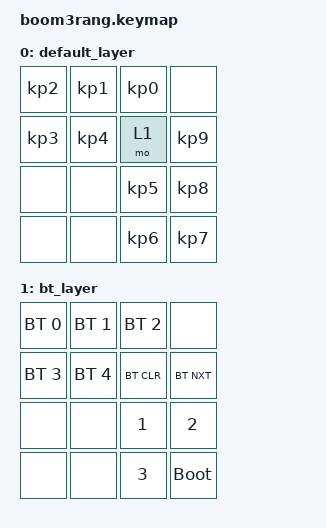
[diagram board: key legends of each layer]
#include <behaviors.dtsi>
#include <dt-bindings/zmk/keys.h>
#include <dt-bindings/zmk/bt.h>

/ {
    keymap {
        compatible = "zmk,keymap";

        default_layer {
            bindings = <
                &kp KP_N2     &kp KP_N1     &kp KP_N0     &none
                &kp KP_N3     &kp KP_N4     &mo 1         &kp KP_N9
                &none         &none         &kp KP_N5     &kp KP_N8
                &none         &none         &kp KP_N6     &kp KP_N7
            >;
        };

        bt_layer {
            bindings = <
                &bt BT_SEL 0  &bt BT_SEL 1  &bt BT_SEL 2  &none
                &bt BT_SEL 3  &bt BT_SEL 4  &bt BT_CLR    &bt BT_NXT
                &none         &none         &kp N1        &kp N2
                &none         &none         &kp N3        &bootloader
            >;
        };
    };
};
